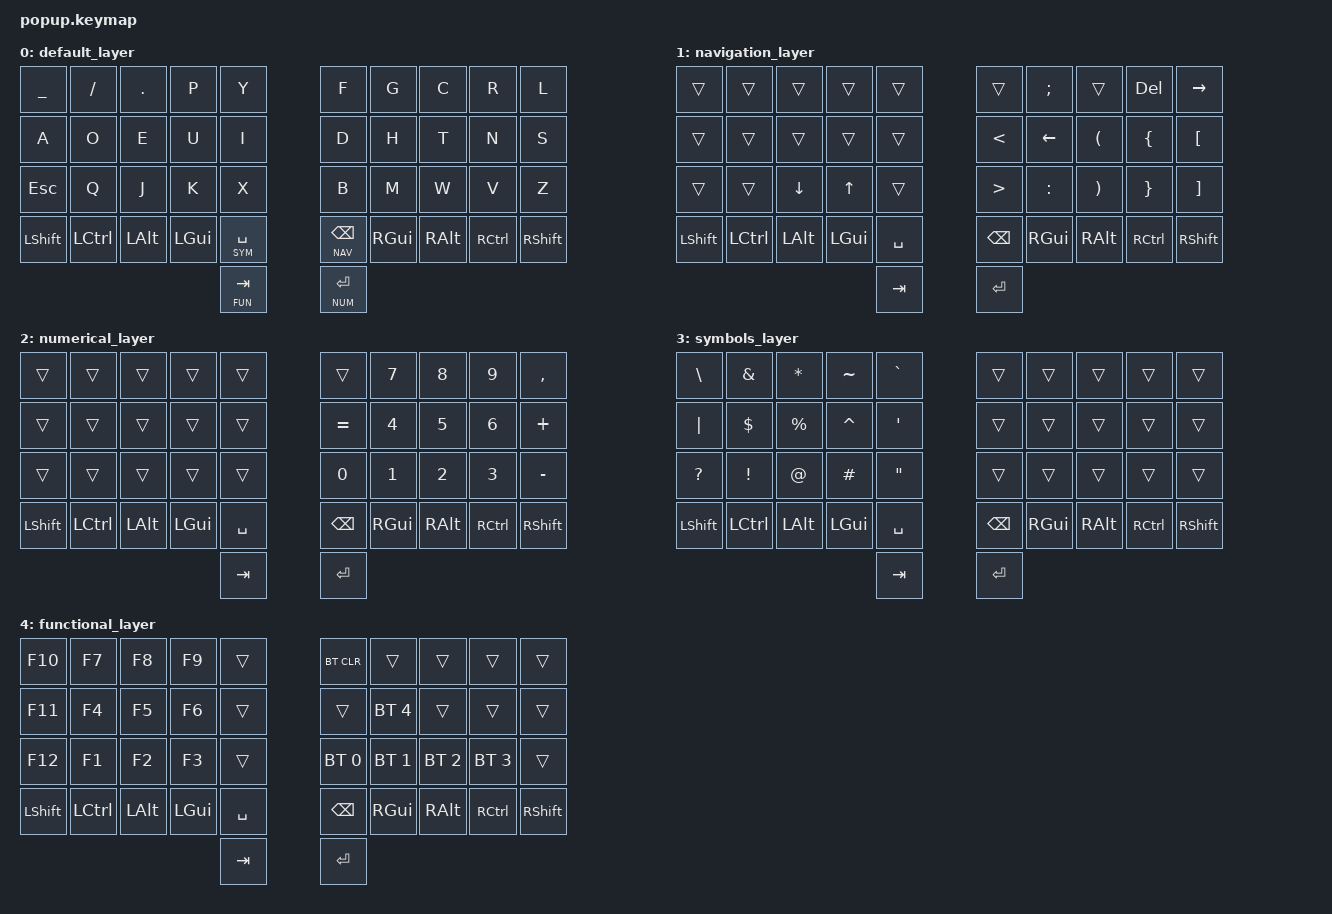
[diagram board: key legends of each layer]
/*
 * Copyright (c) 2023 The ZMK Contributors
 *
 * SPDX-License-Identifier: MIT
 */

#include <behaviors.dtsi>
#include <dt-bindings/zmk/bt.h>
#include <dt-bindings/zmk/keys.h>

#define BAS 0
#define NAV 1
#define NUM 2
#define SYM 3
#define FUN 4

/* Uncomment this block if using RGB
&led_strip {
    chain-length = <6>;
    // chain-length = <31>; // Uncomment if using both per-key and underglow LEDs
    // chain-length = <25>; // Uncomment if using only per-key LEDs.
};
 */


/* &mt { */
/*   flavor = "tap-preferred"; */
/*   tapping_term_ms = <200>; */
/*   quick_tap_ms = <75>; */
/* }; */
/**/
/ {
/* 	behaviors { */
/* 		mod_minus: custom_minus { */
/*             compatible = "zmk,behavior-mod-morph"; */
/*             #binding-cells = <0>; */
/*             bindings = <&kp MINUS>, <&kp UNDER>; */
/*             mods = <(MOD_LSFT|MOD_RSFT)>; */
/*         }; */
/*     	mod_slash: custom_slash { */
/*             compatible = "zmk,behavior-mod-morph"; */
/*             #binding-cells = <0>; */
/*             bindings = <&kp SLASH>, <&kp COLON>; */
/*             mods = <(MOD_LSFT|MOD_RSFT)>; */
/*         }; */
/*     	mod_dot: custom_dot { */
/*             compatible = "zmk,behavior-mod-morph"; */
/*             #binding-cells = <0>; */
/*             bindings = <&kp DOT>, <&kp COMMA>; */
/*             mods = <(MOD_LSFT|MOD_RSFT)>; */
/*         }; */
/* }; */

    keymap {
        compatible = "zmk,keymap";

        default_layer {
            bindings = <
            &kp UNDER     &kp SLASH     &kp DOT      &kp P        &kp Y                  &kp F          &kp G        &kp C        &kp R        &kp L
            &kp A         &kp O         &kp E        &kp U        &kp I                  &kp D          &kp H        &kp T        &kp N        &kp S
            &kp ESC       &kp Q         &kp J        &kp K        &kp X                  &kp B          &kp M        &kp W        &kp V        &kp Z
            &kp LSHIFT    &kp LCTRL     &kp LALT     &kp LGUI     &lt SYM SPACE          &lt NAV BSPC   &kp RGUI     &kp RALT     &kp RCTRL    &kp RSHIFT
                                                                  &lt FUN TAB            &lt NUM ENTER
			>;
        };

        navigation_layer {
            bindings = <
            &trans        &trans        &trans       &trans       &trans                 &trans         &kp SEMI     &trans       &kp DELETE   &kp RIGHT
            &trans        &trans        &trans       &trans       &trans                 &kp LT         &kp LEFT     &kp LPAR     &kp LBRC     &kp LBKT
            &trans        &trans        &kp DOWN     &kp UP       &trans                 &kp GT         &kp COLON    &kp RPAR     &kp RBRC     &kp RBKT
            &kp LSHIFT    &kp LCTRL     &kp LALT     &kp LGUI     &kp SPACE              &kp BSPC       &kp RGUI     &kp RALT     &kp RCTRL    &kp RSHIFT
                                                                  &kp TAB                &kp ENTER
            >;
        };

        numerical_layer {
            bindings = <
            &trans        &trans        &trans       &trans       &trans                 &trans         &kp N7       &kp N8       &kp N9       &kp COMMA
            &trans        &trans        &trans       &trans       &trans                 &kp EQUAL      &kp N4       &kp N5       &kp N6       &kp PLUS
            &trans        &trans        &trans       &trans       &trans                 &kp N0         &kp N1       &kp N2       &kp N3       &kp MINUS
            &kp LSHIFT    &kp LCTRL     &kp LALT     &kp LGUI     &kp SPACE              &kp BSPC       &kp RGUI     &kp RALT     &kp RCTRL    &kp RSHIFT
                                                                  &kp TAB                &kp ENTER
            >;
        };

        symbols_layer {
            bindings = <
            &kp BSLH      &kp AMPS      &kp STAR     &kp TILDE    &kp GRAVE              &trans         &trans       &trans       &trans       &trans
            &kp PIPE      &kp DLLR      &kp PRCNT    &kp CARET    &kp SQT                &trans         &trans       &trans       &trans       &trans
			&kp QMARK     &kp EXCL      &kp AT       &kp HASH     &kp DQT                &trans         &trans       &trans       &trans       &trans
            &kp LSHIFT    &kp LCTRL     &kp LALT     &kp LGUI     &kp SPACE              &kp BSPC       &kp RGUI     &kp RALT     &kp RCTRL    &kp RSHIFT
                                                                  &kp TAB                &kp ENTER
            >;
        };

        functional_layer {
            bindings = <
            &kp F10        &kp F7       &kp F8       &kp F9       &trans                 &bt BT_CLR     &trans       &trans       &trans       &trans
            &kp F11        &kp F4       &kp F5       &kp F6       &trans                 &trans         &bt BT_SEL 4 &trans       &trans       &trans
            &kp F12        &kp F1       &kp F2       &kp F3       &trans                 &bt BT_SEL 0   &bt BT_SEL 1 &bt BT_SEL 2 &bt BT_SEL 3 &trans
            &kp LSHIFT     &kp LCTRL    &kp LALT     &kp LGUI     &kp SPACE              &kp BSPC       &kp RGUI     &kp RALT     &kp RCTRL    &kp RSHIFT
                                                                  &kp TAB                &kp ENTER
            >;
        };
    };
};
